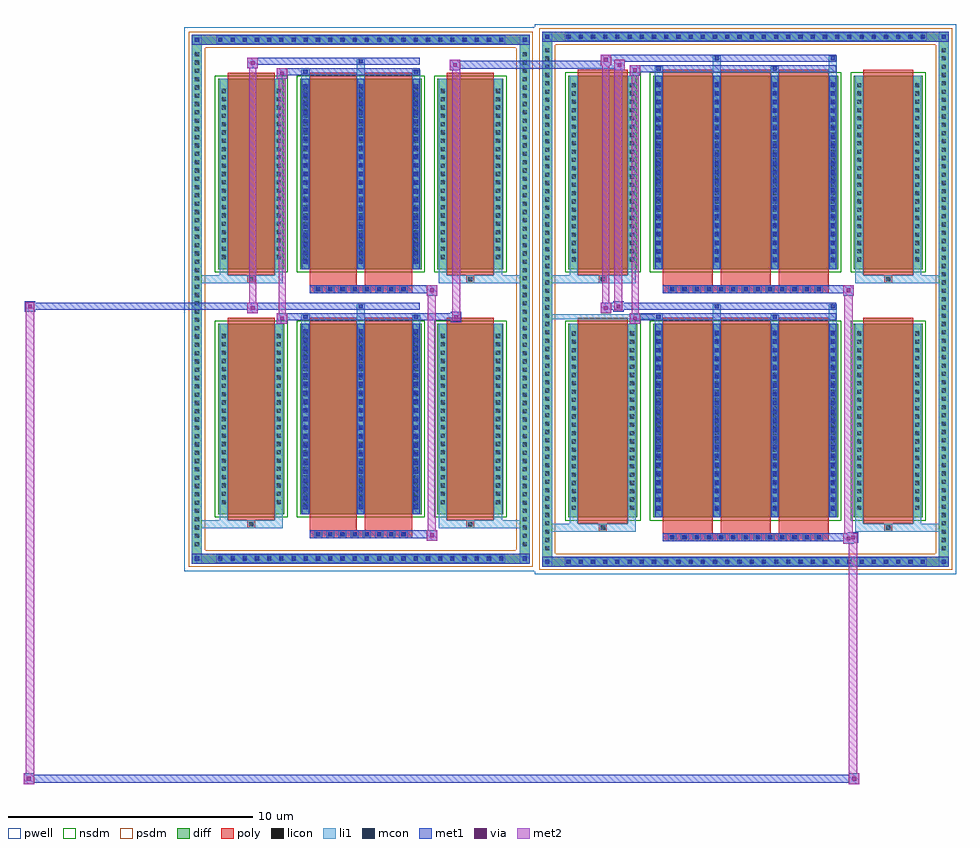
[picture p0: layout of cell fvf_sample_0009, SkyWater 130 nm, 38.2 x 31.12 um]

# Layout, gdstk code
import gdstk
lib = gdstk.Library(unit=1e-6, precision=1e-09)
def R(c, l, rs):  # rectangles x0, y0, x1, y1
    for r in rs: c.add(gdstk.rectangle(r[:2], r[2:], *l))
def A(c, l, x, y, w, h, nx, ny, dx, dy):  # array of equal rectangles
    R(c, l, [(x+i*dx, y+j*dy, x+i*dx+w, y+j*dy+h) for i in range(nx) for j in range(ny)])
def P(c, l, *ps):  # polygons
    for p in ps: c.add(gdstk.Polygon(p, *l))
pwell = (64, 44)
diff = (65, 20)
poly = (66, 20)
licon = (66, 44)
li1 = (67, 20)
mcon = (67, 44)
met1 = (68, 20)
via = (68, 44)
met2 = (69, 20)
nsdm = (93, 44)
psdm = (94, 20)

fvf_sample_0009 = lib.new_cell('fvf_sample_0009')
R(fvf_sample_0009, pwell, [(7.123,-11.268,24.393,11.268), (-7.223,-11.136,7.223,11.136)])
A(fvf_sample_0009, diff, 8.303, -10.958, 0.41, 0.41, 30, 2, 0.5, 21.506)
A(fvf_sample_0009, diff, -5.955, -10.826, 0.41, 0.41, 24, 2, 0.5, 21.242)
A(fvf_sample_0009, diff, 7.433, -10.405, 0.41, 0.41, 1, 61, 0, 0.34)
A(fvf_sample_0009, diff, 23.673, -10.405, 0.41, 0.41, 1, 61, 0, 0.34)
A(fvf_sample_0009, diff, -6.913, -10.235, 0.41, 0.41, 1, 60, 0, 0.34)
A(fvf_sample_0009, diff, 6.503, -10.235, 0.41, 0.41, 1, 60, 0, 0.34)
R(fvf_sample_0009, diff, [(8.303,-10.958,23.213,-10.548), (-5.955,-10.826,5.955,-10.416), (7.433,-10.405,7.843,10.405), (23.673,-10.405,24.083,10.405), (-6.913,-10.235,-6.503,10.235), (6.503,-10.235,6.913,10.235), (8.503,-8.937,11.329,-1.015), (11.969,-8.937,19.547,-1.015), (20.187,-8.937,23.013,-1.015), (-5.843,-8.805,-3.129,-1.015), (-2.489,-8.805,2.489,-1.015), (3.129,-8.805,5.843,-1.015), (-5.843,1.231,-3.129,9.021), (-2.489,1.231,2.489,9.021), (3.129,1.231,5.843,9.021), (8.503,1.231,11.329,9.153), (11.969,1.231,19.547,9.153), (20.187,1.231,23.013,9.153), (-5.955,10.416,5.955,10.826), (8.303,10.548,23.213,10.958)])
P(fvf_sample_0009, diff, [(6.913,10.826),(-6.913,10.826),(-6.913,-10.416),(-6.503,-10.416),(-6.503,10.416),(6.503,10.416),(6.503,-10.416),(-6.503,-10.416),(-6.913,-10.416),(-6.913,-10.826),(6.913,-10.826)],
  [(24.083,10.958),(7.433,10.958),(7.433,-10.548),(7.843,-10.548),(7.843,10.548),(23.673,10.548),(23.673,-10.548),(7.843,-10.548),(7.433,-10.548),(7.433,-10.958),(24.083,-10.958)])
A(fvf_sample_0009, poly, 12.593, -9.918, 0.33, 0.33, 13, 2, 0.5, 10.168)
A(fvf_sample_0009, poly, -1.915, -9.786, 0.33, 0.33, 8, 2, 0.5, 10.036)
A(fvf_sample_0009, poly, 12.359, -9.588, 2.046, 0.401, 3, 2, 2.376, 10.168)
A(fvf_sample_0009, poly, 12.359, -9.187, 2.046, 8.422, 3, 2, 2.376, 10.168)
R(fvf_sample_0009, poly, [(12.359,-9.918,19.157,-9.588), (-2.099,-9.786,2.099,-9.456), (9.751,-9.517,10.081,-9.187), (9.751,-9.517,10.081,-9.187), (21.435,-9.517,21.765,-9.187), (21.435,-9.517,21.765,-9.187), (-2.099,-9.456,-0.165,-9.055), (0.165,-9.456,2.099,-9.055), (-4.651,-9.385,-4.321,-9.055), (-4.651,-9.385,-4.321,-9.055), (4.321,-9.385,4.651,-9.055), (4.321,-9.385,4.651,-9.055), (8.893,-9.187,10.939,-0.765), (20.577,-9.187,22.623,-0.765), (-5.453,-9.055,-3.519,-0.765), (-2.099,-9.055,-0.165,-0.765), (0.165,-9.055,2.099,-0.765), (3.519,-9.055,5.453,-0.765), (-2.099,0.25,2.099,0.58), (12.359,0.25,19.157,0.58), (-2.099,0.58,-0.165,0.981), (0.165,0.58,2.099,0.981), (-4.651,0.651,-4.321,0.981), (-4.651,0.651,-4.321,0.981), (4.321,0.651,4.651,0.981), (4.321,0.651,4.651,0.981), (9.751,0.651,10.081,0.981), (9.751,0.651,10.081,0.981), (21.435,0.651,21.765,0.981), (21.435,0.651,21.765,0.981), (-5.453,0.981,-3.519,9.271), (-2.099,0.981,-0.165,9.271), (0.165,0.981,2.099,9.271), (3.519,0.981,5.453,9.271), (8.893,0.981,10.939,9.403), (20.577,0.981,22.623,9.403)])
A(fvf_sample_0009, licon, 8.423, -10.838, 0.17, 0.17, 30, 2, 0.5, 21.506)
A(fvf_sample_0009, licon, -5.835, -10.706, 0.17, 0.17, 24, 2, 0.5, 21.242)
A(fvf_sample_0009, licon, 7.553, -10.285, 0.17, 0.17, 1, 61, 0, 0.34)
A(fvf_sample_0009, licon, 23.793, -10.285, 0.17, 0.17, 1, 61, 0, 0.34)
A(fvf_sample_0009, licon, -6.793, -10.115, 0.17, 0.17, 1, 60, 0, 0.34)
A(fvf_sample_0009, licon, 6.623, -10.115, 0.17, 0.17, 1, 60, 0, 0.34)
A(fvf_sample_0009, licon, 12.673, -9.838, 0.17, 0.17, 13, 2, 0.5, 10.168)
A(fvf_sample_0009, licon, -1.835, -9.706, 0.17, 0.17, 8, 2, 0.5, 10.036)
A(fvf_sample_0009, licon, 8.643, -8.631, 0.17, 0.17, 1, 22, 0, 0.34)
A(fvf_sample_0009, licon, 11.019, -8.631, 0.17, 0.17, 1, 22, 0, 0.34)
A(fvf_sample_0009, licon, 12.109, -8.631, 0.17, 0.17, 4, 22, 2.376, 0.34)
A(fvf_sample_0009, licon, 20.327, -8.631, 0.17, 0.17, 1, 22, 0, 0.34)
A(fvf_sample_0009, licon, 22.703, -8.631, 0.17, 0.17, 1, 22, 0, 0.34)
A(fvf_sample_0009, licon, -5.703, -8.395, 0.17, 0.17, 1, 21, 0, 0.34)
A(fvf_sample_0009, licon, -3.439, -8.395, 0.17, 0.17, 1, 21, 0, 0.34)
A(fvf_sample_0009, licon, -2.349, -8.395, 0.17, 0.17, 3, 21, 2.264, 0.34)
A(fvf_sample_0009, licon, 3.269, -8.395, 0.17, 0.17, 1, 21, 0, 0.34)
A(fvf_sample_0009, licon, 5.533, -8.395, 0.17, 0.17, 1, 21, 0, 0.34)
A(fvf_sample_0009, licon, 8.643, 1.537, 0.17, 0.17, 1, 22, 0, 0.34)
A(fvf_sample_0009, licon, 11.019, 1.537, 0.17, 0.17, 1, 22, 0, 0.34)
A(fvf_sample_0009, licon, 12.109, 1.537, 0.17, 0.17, 4, 22, 2.376, 0.34)
A(fvf_sample_0009, licon, 20.327, 1.537, 0.17, 0.17, 1, 22, 0, 0.34)
A(fvf_sample_0009, licon, 22.703, 1.537, 0.17, 0.17, 1, 22, 0, 0.34)
A(fvf_sample_0009, licon, -5.703, 1.641, 0.17, 0.17, 1, 21, 0, 0.34)
A(fvf_sample_0009, licon, -3.439, 1.641, 0.17, 0.17, 1, 21, 0, 0.34)
A(fvf_sample_0009, licon, -2.349, 1.641, 0.17, 0.17, 3, 21, 2.264, 0.34)
A(fvf_sample_0009, licon, 3.269, 1.641, 0.17, 0.17, 1, 21, 0, 0.34)
A(fvf_sample_0009, licon, 5.533, 1.641, 0.17, 0.17, 1, 21, 0, 0.34)
R(fvf_sample_0009, licon, [(9.831,-9.437,10.001,-9.267), (21.515,-9.437,21.685,-9.267), (-4.571,-9.305,-4.401,-9.135), (4.401,-9.305,4.571,-9.135), (-4.571,0.731,-4.401,0.901), (4.401,0.731,4.571,0.901), (9.831,0.731,10.001,0.901), (21.515,0.731,21.685,0.901)])
A(fvf_sample_0009, li1, 8.343, -10.918, 0.33, 0.33, 30, 2, 0.5, 21.506)
A(fvf_sample_0009, li1, -5.915, -10.786, 0.33, 0.33, 24, 2, 0.5, 21.242)
A(fvf_sample_0009, li1, 7.473, -10.365, 0.33, 0.33, 1, 61, 0, 0.34)
A(fvf_sample_0009, li1, 23.713, -10.365, 0.33, 0.33, 1, 61, 0, 0.34)
A(fvf_sample_0009, li1, -6.873, -10.195, 0.33, 0.33, 1, 60, 0, 0.34)
A(fvf_sample_0009, li1, 6.543, -10.195, 0.33, 0.33, 1, 60, 0, 0.34)
A(fvf_sample_0009, li1, 12.593, -9.918, 0.33, 0.33, 13, 2, 0.5, 10.168)
A(fvf_sample_0009, li1, -1.915, -9.786, 0.33, 0.33, 8, 2, 0.5, 10.036)
A(fvf_sample_0009, li1, 12.029, -8.937, 0.33, 7.922, 4, 2, 2.376, 10.168)
A(fvf_sample_0009, li1, -2.429, -8.805, 0.33, 7.79, 3, 2, 2.264, 10.036)
A(fvf_sample_0009, li1, 8.563, -8.711, 0.33, 0.33, 1, 22, 0, 0.34)
A(fvf_sample_0009, li1, 10.939, -8.711, 0.33, 0.33, 1, 22, 0, 0.34)
A(fvf_sample_0009, li1, 12.029, -8.711, 0.33, 0.33, 4, 22, 2.376, 0.34)
A(fvf_sample_0009, li1, 20.247, -8.711, 0.33, 0.33, 1, 22, 0, 0.34)
A(fvf_sample_0009, li1, 22.623, -8.711, 0.33, 0.33, 1, 22, 0, 0.34)
A(fvf_sample_0009, li1, 12.109, -8.661, 0.17, 0.17, 4, 21, 2.376, 0.36)
A(fvf_sample_0009, li1, 12.109, -8.661, 0.17, 7.37, 4, 2, 2.376, 10.168)
A(fvf_sample_0009, li1, -2.349, -8.595, 0.17, 0.17, 3, 21, 2.264, 0.36)
A(fvf_sample_0009, li1, -2.349, -8.595, 0.17, 7.37, 3, 2, 2.264, 10.036)
A(fvf_sample_0009, li1, -5.783, -8.475, 0.33, 0.33, 1, 21, 0, 0.34)
A(fvf_sample_0009, li1, -3.519, -8.475, 0.33, 0.33, 1, 21, 0, 0.34)
A(fvf_sample_0009, li1, -2.429, -8.475, 0.33, 0.33, 3, 21, 2.264, 0.34)
A(fvf_sample_0009, li1, 3.189, -8.475, 0.33, 0.33, 1, 21, 0, 0.34)
A(fvf_sample_0009, li1, 5.453, -8.475, 0.33, 0.33, 1, 21, 0, 0.34)
A(fvf_sample_0009, li1, -2.349, 1.441, 0.17, 0.17, 3, 21, 2.264, 0.36)
A(fvf_sample_0009, li1, 8.563, 1.457, 0.33, 0.33, 1, 22, 0, 0.34)
A(fvf_sample_0009, li1, 10.939, 1.457, 0.33, 0.33, 1, 22, 0, 0.34)
A(fvf_sample_0009, li1, 12.029, 1.457, 0.33, 0.33, 4, 22, 2.376, 0.34)
A(fvf_sample_0009, li1, 20.247, 1.457, 0.33, 0.33, 1, 22, 0, 0.34)
A(fvf_sample_0009, li1, 22.623, 1.457, 0.33, 0.33, 1, 22, 0, 0.34)
A(fvf_sample_0009, li1, 12.109, 1.507, 0.17, 0.17, 4, 21, 2.376, 0.36)
A(fvf_sample_0009, li1, -5.783, 1.561, 0.33, 0.33, 1, 21, 0, 0.34)
A(fvf_sample_0009, li1, -3.519, 1.561, 0.33, 0.33, 1, 21, 0, 0.34)
A(fvf_sample_0009, li1, -2.429, 1.561, 0.33, 0.33, 3, 21, 2.264, 0.34)
A(fvf_sample_0009, li1, 3.189, 1.561, 0.33, 0.33, 1, 21, 0, 0.34)
A(fvf_sample_0009, li1, 5.453, 1.561, 0.33, 0.33, 1, 21, 0, 0.34)
R(fvf_sample_0009, li1, [(7.433,-10.958,7.843,-10.548), (23.673,-10.958,24.083,-10.548), (8.343,-10.918,23.173,-10.588), (7.553,-10.838,7.723,-10.668), (7.553,-10.838,7.723,-10.668), (23.793,-10.838,23.963,-10.668), (23.793,-10.838,23.963,-10.668), (-6.913,-10.826,-6.503,-10.416), (6.503,-10.826,6.913,-10.416), (-5.915,-10.786,5.915,-10.456), (-6.793,-10.706,-6.623,-10.536), (-6.793,-10.706,-6.623,-10.536), (6.623,-10.706,6.793,-10.536), (6.623,-10.706,6.793,-10.536), (7.433,-10.548,7.843,10.548), (23.673,-10.548,24.083,10.548), (-6.913,-10.416,-6.503,10.416), (6.503,-10.416,6.913,10.416), (7.433,-9.517,9.751,-9.187), (8.563,-9.517,8.893,-8.937), (8.563,-9.517,9.751,-9.187), (9.751,-9.517,10.081,-9.187), (10.081,-9.517,11.269,-9.187), (10.939,-9.517,11.269,-8.937), (20.247,-9.517,20.577,-8.937), (20.247,-9.517,21.435,-9.187), (21.435,-9.517,21.765,-9.187), (21.435,-9.517,24.083,-9.187), (21.765,-9.517,22.953,-9.187), (22.623,-9.517,22.953,-8.937), (-6.913,-9.385,-4.651,-9.055), (-5.783,-9.385,-4.651,-9.055), (-5.783,-9.385,-5.453,-8.805), (-4.651,-9.385,-4.321,-9.055), (-4.321,-9.385,-3.189,-9.055), (-3.519,-9.385,-3.189,-8.805), (3.189,-9.385,4.321,-9.055), (3.189,-9.385,3.519,-8.805), (4.321,-9.385,4.651,-9.055), (4.321,-9.385,6.913,-9.055), (4.651,-9.385,5.783,-9.055), (5.453,-9.385,5.783,-8.805), (8.563,-8.937,8.893,-1.015), (10.939,-8.937,11.269,-1.015), (20.247,-8.937,20.577,-1.015), (22.623,-8.937,22.953,-1.015), (-5.783,-8.805,-5.453,-1.015), (-3.519,-8.805,-3.189,-1.015), (3.189,-8.805,3.519,-1.015), (5.453,-8.805,5.783,-1.015), (-2.429,-1.015,-2.099,-0.64), (-0.165,-1.015,0.165,-0.21), (2.099,-1.015,2.429,-0.64), (12.029,-1.015,12.359,-0.64), (14.405,-1.015,14.735,-0.21), (16.781,-1.015,17.111,-0.64), (19.157,-1.015,19.487,-0.21), (12.049,-0.87,12.339,-0.58), (7.433,-0.825,12.049,-0.625), (-2.349,-0.81,-2.179,-0.64), (2.179,-0.81,2.349,-0.64), (12.109,-0.81,12.279,-0.64), (12.109,-0.81,12.279,-0.64), (16.861,-0.81,17.031,-0.64), (-0.085,-0.38,0.085,-0.21), (14.485,-0.38,14.655,-0.21), (19.237,-0.38,19.407,-0.21), (-6.913,0.651,-4.651,0.981), (-5.783,0.651,-4.651,0.981), (-5.783,0.651,-5.453,1.231), (-4.651,0.651,-4.321,0.981), (-4.321,0.651,-3.189,0.981), (-3.519,0.651,-3.189,1.231), (3.189,0.651,4.321,0.981), (3.189,0.651,3.519,1.231), (4.321,0.651,4.651,0.981), (4.321,0.651,6.913,0.981), (4.651,0.651,5.783,0.981), (5.453,0.651,5.783,1.231), (7.433,0.651,9.751,0.981), (8.563,0.651,8.893,1.231), (8.563,0.651,9.751,0.981), (9.751,0.651,10.081,0.981), (10.081,0.651,11.269,0.981), (10.939,0.651,11.269,1.231), (20.247,0.651,20.577,1.231), (20.247,0.651,21.435,0.981), (21.435,0.651,21.765,0.981), (21.435,0.651,24.083,0.981), (21.765,0.651,22.953,0.981), (22.623,0.651,22.953,1.231), (-5.783,1.231,-5.453,9.021), (-3.519,1.231,-3.189,9.021), (3.189,1.231,3.519,9.021), (5.453,1.231,5.783,9.021), (8.563,1.231,8.893,9.153), (10.939,1.231,11.269,9.153), (20.247,1.231,20.577,9.153), (22.623,1.231,22.953,9.153), (-2.429,9.021,-2.099,9.396), (-0.165,9.021,0.165,9.826), (2.099,9.021,2.429,9.396), (12.029,9.153,12.359,9.528), (14.405,9.153,14.735,9.958), (16.781,9.153,17.111,9.528), (19.157,9.153,19.487,9.958), (-2.349,9.226,-2.179,9.396), (2.179,9.226,2.349,9.396), (12.109,9.358,12.279,9.528), (16.861,9.358,17.031,9.528), (-0.085,9.656,0.085,9.826), (14.485,9.788,14.655,9.958), (19.237,9.788,19.407,9.958), (-6.913,10.416,-6.503,10.826), (6.503,10.416,6.913,10.826), (-5.915,10.456,5.915,10.786), (-6.793,10.536,-6.623,10.706), (-6.793,10.536,-6.623,10.706), (6.623,10.536,6.793,10.706), (6.623,10.536,6.793,10.706), (7.433,10.548,7.843,10.958), (23.673,10.548,24.083,10.958), (8.343,10.588,23.173,10.918), (7.553,10.668,7.723,10.838), (7.553,10.668,7.723,10.838), (23.793,10.668,23.963,10.838), (23.793,10.668,23.963,10.838)])
A(fvf_sample_0009, mcon, 8.423, -10.838, 0.17, 0.17, 30, 2, 0.5, 21.506)
A(fvf_sample_0009, mcon, -5.835, -10.706, 0.17, 0.17, 24, 2, 0.5, 21.242)
A(fvf_sample_0009, mcon, 12.673, -9.838, 0.17, 0.17, 13, 2, 0.5, 10.168)
A(fvf_sample_0009, mcon, -1.835, -9.706, 0.17, 0.17, 8, 2, 0.5, 10.036)
A(fvf_sample_0009, mcon, 12.109, -8.661, 0.17, 0.17, 4, 21, 2.376, 0.36)
A(fvf_sample_0009, mcon, -2.349, -8.595, 0.17, 0.17, 3, 21, 2.264, 0.36)
A(fvf_sample_0009, mcon, -2.349, 1.441, 0.17, 0.17, 3, 21, 2.264, 0.36)
A(fvf_sample_0009, mcon, 12.109, 1.507, 0.17, 0.17, 4, 21, 2.376, 0.36)
R(fvf_sample_0009, mcon, [(7.553,-10.838,7.723,-10.668), (23.793,-10.838,23.963,-10.668), (-6.793,-10.706,-6.623,-10.536), (6.623,-10.706,6.793,-10.536), (-2.349,-0.81,-2.179,-0.64), (2.179,-0.81,2.349,-0.64), (12.109,-0.81,12.279,-0.64), (12.109,-0.81,12.279,-0.64), (16.861,-0.81,17.031,-0.64), (-0.085,-0.38,0.085,-0.21), (14.485,-0.38,14.655,-0.21), (19.237,-0.38,19.407,-0.21), (-2.349,9.226,-2.179,9.396), (2.179,9.226,2.349,9.396), (12.109,9.358,12.279,9.528), (16.861,9.358,17.031,9.528), (-0.085,9.656,0.085,9.826), (14.485,9.788,14.655,9.958), (19.237,9.788,19.407,9.958), (-6.793,10.536,-6.623,10.706), (6.623,10.536,6.793,10.706), (7.553,10.668,7.723,10.838), (23.793,10.668,23.963,10.838)])
A(fvf_sample_0009, met1, 8.363, -10.898, 0.29, 0.29, 30, 2, 0.5, 21.506)
A(fvf_sample_0009, met1, -5.895, -10.766, 0.29, 0.29, 24, 2, 0.5, 21.242)
A(fvf_sample_0009, met1, 12.613, -9.898, 0.29, 0.29, 13, 2, 0.5, 10.168)
A(fvf_sample_0009, met1, -1.895, -9.766, 0.29, 0.29, 8, 2, 0.5, 10.036)
A(fvf_sample_0009, met1, 12.049, -8.937, 0.29, 7.922, 4, 2, 2.376, 10.168)
A(fvf_sample_0009, met1, -2.409, -8.805, 0.29, 7.79, 3, 2, 2.264, 10.036)
A(fvf_sample_0009, met1, 12.049, -8.721, 0.29, 0.29, 4, 21, 2.376, 0.36)
A(fvf_sample_0009, met1, -2.409, -8.655, 0.29, 0.29, 3, 21, 2.264, 0.36)
A(fvf_sample_0009, met1, -2.409, 1.381, 0.29, 0.29, 3, 21, 2.264, 0.36)
A(fvf_sample_0009, met1, 12.049, 1.447, 0.29, 0.29, 4, 21, 2.376, 0.36)
R(fvf_sample_0009, met1, [(-13.81,-19.854,-13.38,-19.424), (19.992,-19.854,20.422,-19.424), (-13.81,-19.804,20.422,-19.474), (-13.81,-19.474,-13.38,-19.424), (19.992,-19.474,20.422,-19.424), (7.433,-10.958,7.843,-10.548), (7.433,-10.958,7.843,-10.548), (7.843,-10.958,23.673,-10.548), (23.673,-10.958,24.083,-10.548), (23.673,-10.958,24.083,-10.548), (7.493,-10.898,7.783,-10.608), (23.733,-10.898,24.023,-10.608), (-6.913,-10.826,-6.503,-10.416), (-6.913,-10.826,-6.503,-10.416), (-6.503,-10.826,6.503,-10.416), (6.503,-10.826,6.913,-10.416), (6.503,-10.826,6.913,-10.416), (-6.853,-10.766,-6.563,-10.476), (6.563,-10.766,6.853,-10.476), (19.757,-10.018,20.187,-9.588), (19.942,-9.968,20.372,-9.538), (12.359,-9.918,19.157,-9.588), (19.157,-9.918,20.187,-9.588), (19.157,-9.918,19.942,-9.588), (2.699,-9.886,3.129,-9.456), (-2.099,-9.786,2.099,-9.456), (2.099,-9.786,3.129,-9.456), (-3.439,-1.01,-3.009,-0.58), (11.019,-1.01,11.449,-0.58), (3.694,-0.94,4.124,-0.51), (-3.439,-0.87,-2.409,-0.58), (-2.409,-0.87,-2.119,-0.58), (-2.409,-0.87,2.409,-0.58), (2.119,-0.87,2.409,-0.58), (2.409,-0.87,3.694,-0.58), (11.019,-0.87,12.049,-0.58), (12.049,-0.87,12.339,-0.58), (12.049,-0.87,12.339,-0.58), (12.049,-0.87,19.467,-0.58), (16.801,-0.87,17.091,-0.58), (-4.639,-0.58,-4.209,-0.15), (9.819,-0.58,10.249,-0.15), (-13.76,-0.51,-13.33,-0.08), (10.334,-0.51,10.764,-0.08), (-13.33,-0.44,-2.409,-0.15), (-4.639,-0.44,-2.409,-0.15), (-2.409,-0.44,2.409,-0.15), (-0.145,-0.44,0.145,-0.15), (9.819,-0.44,12.049,-0.15), (10.764,-0.44,12.049,-0.15), (12.049,-0.44,19.467,-0.15), (14.425,-0.44,14.715,-0.15), (19.177,-0.44,19.467,-0.15), (2.699,0.15,3.129,0.58), (19.757,0.15,20.187,0.58), (-2.099,0.25,2.099,0.58), (2.099,0.25,3.129,0.58), (12.359,0.25,19.157,0.58), (19.157,0.25,20.187,0.58), (-3.439,9.026,-3.009,9.456), (11.019,9.158,11.449,9.588), (-3.439,9.166,-2.409,9.456), (-2.409,9.166,-2.119,9.456), (-2.409,9.166,2.409,9.456), (2.119,9.166,2.409,9.456), (11.019,9.298,12.049,9.588), (12.049,9.298,12.339,9.588), (12.049,9.298,19.467,9.588), (16.801,9.298,17.091,9.588), (3.644,9.376,4.074,9.806), (10.384,9.376,10.814,9.806), (3.644,9.426,10.814,9.756), (-4.639,9.456,-4.209,9.886), (9.819,9.588,10.249,10.018), (-4.639,9.596,-2.409,9.886), (-2.409,9.596,2.409,9.886), (-0.145,9.596,0.145,9.886), (9.819,9.728,12.049,10.018), (12.049,9.728,19.467,10.018), (14.425,9.728,14.715,10.018), (19.177,9.728,19.467,10.018), (3.644,9.756,4.074,9.806), (10.384,9.756,10.814,9.806), (-6.913,10.416,-6.503,10.826), (-6.913,10.416,-6.503,10.826), (-6.503,10.416,6.503,10.826), (6.503,10.416,6.913,10.826), (6.503,10.416,6.913,10.826), (-6.853,10.476,-6.563,10.766), (6.563,10.476,6.853,10.766), (7.433,10.548,7.843,10.958), (7.433,10.548,7.843,10.958), (7.843,10.548,23.673,10.958), (23.673,10.548,24.083,10.958), (23.673,10.548,24.083,10.958), (7.493,10.608,7.783,10.898), (23.733,10.608,24.023,10.898)])
R(fvf_sample_0009, via, [(-13.67,-19.714,-13.52,-19.564), (20.132,-19.714,20.282,-19.564), (19.897,-9.878,20.047,-9.728), (20.082,-9.828,20.232,-9.678), (2.839,-9.746,2.989,-9.596), (-3.299,-0.87,-3.149,-0.72), (11.159,-0.87,11.309,-0.72), (3.834,-0.8,3.984,-0.65), (-4.499,-0.44,-4.349,-0.29), (9.959,-0.44,10.109,-0.29), (-13.62,-0.37,-13.47,-0.22), (10.474,-0.37,10.624,-0.22), (2.839,0.29,2.989,0.44), (19.897,0.29,20.047,0.44), (-3.299,9.166,-3.149,9.316), (11.159,9.298,11.309,9.448), (3.784,9.516,3.934,9.666), (10.524,9.516,10.674,9.666), (-4.499,9.596,-4.349,9.746), (9.959,9.728,10.109,9.878)])
R(fvf_sample_0009, met2, [(-13.81,-19.854,-13.38,-19.424), (-13.71,-19.854,-13.38,-0.46), (19.992,-19.854,20.422,-19.424), (19.992,-19.854,20.322,-9.918), (-13.76,-19.804,-13.43,-19.474), (20.042,-19.804,20.372,-19.474), (19.757,-10.018,20.187,-9.588), (19.807,-10.018,20.137,0.58), (20.137,-10.018,20.187,-9.588), (19.807,-9.968,20.137,-9.638), (19.992,-9.918,20.322,-9.588), (2.699,-9.886,3.129,-9.456), (2.749,-9.886,3.079,0.58), (3.079,-9.886,3.129,-9.456), (2.749,-9.836,3.079,-9.506), (-3.439,-1.01,-3.009,-0.58), (-3.369,-1.01,-3.079,9.456), (-3.079,-1.01,-3.009,-0.58), (11.019,-1.01,11.449,-0.58), (11.089,-1.01,11.379,9.588), (11.379,-1.01,11.449,-0.58), (-3.389,-0.96,-3.059,-0.63), (11.069,-0.96,11.399,-0.63), (3.744,-0.89,4.074,-0.56), (-4.639,-0.58,-4.209,-0.15), (-4.569,-0.58,-4.279,9.886), (-4.279,-0.58,-4.209,-0.15), (9.819,-0.58,10.249,-0.15), (9.889,-0.58,10.179,10.018), (10.179,-0.58,10.249,-0.15), (3.744,-0.56,4.074,9.806), (-4.589,-0.53,-4.259,-0.2), (9.869,-0.53,10.199,-0.2), (-13.71,-0.46,-13.38,-0.13), (10.384,-0.46,10.714,-0.13), (10.384,-0.13,10.714,9.806), (2.699,0.15,3.129,0.58), (3.079,0.15,3.129,0.58), (19.757,0.15,20.187,0.58), (20.137,0.15,20.187,0.58), (2.749,0.2,3.079,0.53), (19.807,0.2,20.137,0.53), (-3.439,9.026,-3.009,9.456), (-3.079,9.026,-3.009,9.456), (-3.389,9.076,-3.059,9.406), (11.019,9.158,11.449,9.588), (11.379,9.158,11.449,9.588), (11.069,9.208,11.399,9.538), (3.644,9.376,4.074,9.806), (10.384,9.376,10.814,9.806), (3.694,9.426,4.024,9.756), (10.434,9.426,10.764,9.756), (-4.639,9.456,-4.209,9.886), (-4.279,9.456,-4.209,9.886), (-4.589,9.506,-4.259,9.836), (9.819,9.588,10.249,10.018), (10.179,9.588,10.249,10.018), (9.869,9.638,10.199,9.968)])
R(fvf_sample_0009, nsdm, [(8.373,-9.067,11.459,-0.885), (11.839,-9.067,19.677,-0.885), (20.057,-9.067,23.143,-0.885), (-5.973,-8.935,-2.999,-0.885), (-2.619,-8.935,2.619,-0.885), (2.999,-8.935,5.973,-0.885), (-5.973,1.101,-2.999,9.151), (-2.619,1.101,2.619,9.151), (2.999,1.101,5.973,9.151), (8.373,1.101,11.459,9.283), (11.839,1.101,19.677,9.283), (20.057,1.101,23.143,9.283)])
P(fvf_sample_0009, psdm, [(7.043,10.956),(-7.043,10.956),(-7.043,-10.286),(-6.373,-10.286),(-6.373,10.286),(6.373,10.286),(6.373,-10.286),(-6.373,-10.286),(-7.043,-10.286),(-7.043,-10.956),(7.043,-10.956)],
  [(24.213,11.088),(7.303,11.088),(7.303,-10.418),(7.973,-10.418),(7.973,10.418),(23.543,10.418),(23.543,-10.418),(7.973,-10.418),(7.303,-10.418),(7.303,-11.088),(24.213,-11.088)])

lib.write_gds('fvf_sample_0009.gds')
